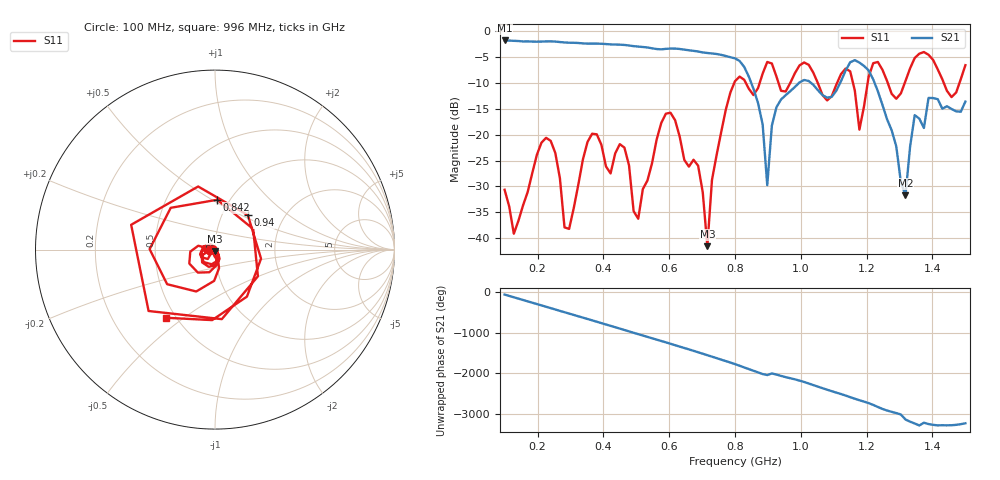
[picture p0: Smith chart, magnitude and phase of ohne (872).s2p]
! NanoVNA-App
! Date: 2025-09-25 14:27:35
! Start: 100MHz Stop: 1,5GHz Points: 101
! S-Parameter data: F S11 S21 S12 S22
# Hz S RI R 50
!  Frequency  S11_Real  S11_Imag  S21_Real  S21_Imag  S12_Real  S12_Imag  S22_Real  S22_Imag
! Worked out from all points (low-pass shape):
!   101 points, 100 MHz to 1.5 GHz, reference 50 ohm
!   highest |S21| = -1.79 dB at 100 MHz (marker M1); lowest = -31.7 dB at 1.318 GHz (marker M2)
!   |S21| within 3 dB of the highest: start of sweep to 771.6 MHz
!   lowest |S11| = -41.5 dB at 716 MHz (marker M3), VSWR 1.02, Z = 49.8 - j0.82 ohm
!   |S11| at or under -10 dB: start of sweep to 797.8 MHz; 832.9 MHz to 875 MHz (42.08 MHz wide, 4.93 % of centre); 1.052 GHz to 1.11 GHz (58.71 MHz wide, 5.43 % of centre) (the widest 3 of 7)
!   S12 and S22 are empty: the file has one direction only
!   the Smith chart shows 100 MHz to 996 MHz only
!   S11 on the Smith chart (normalised r, x): 100 MHz: 0.94, -0.01; 842 MHz: 0.88, +0.53; 940 MHz: 1.32, +0.55; 996 MHz: 0.44, -0.43
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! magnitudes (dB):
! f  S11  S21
! 100 MHz  -30.6  -1.8
! 128 MHz  -39.1  -1.9
! 226 MHz  -20.6  -2.0
! 296 MHz  -38.2  -2.2
! 338 MHz  -24.7  -2.4
! 464 MHz  -22.5  -2.7
! 506 MHz  -36.2  -3.0
! 576 MHz  -17.7  -3.5
! 688 MHz  -26.0  -3.9
! 716 MHz  -41.5  -4.2
! 800 MHz  -9.7  -5.3
! 842 MHz  -11.1  -8.8
! 898 MHz  -6.0  -29.8
! 940 MHz  -11.5  -13.2
! 996 MHz  -6.6  -9.9
! 1.038 GHz  -8.0  -10.4
! 1.178 GHz  -19.0  -6.1
! 1.22 GHz  -6.2  -9.3
! 1.276 GHz  -12.1  -19.1
! 1.318 GHz  -9.6  -31.7
! 1.346 GHz  -5.2  -16.2
! 1.5 GHz  -6.6  -13.6
